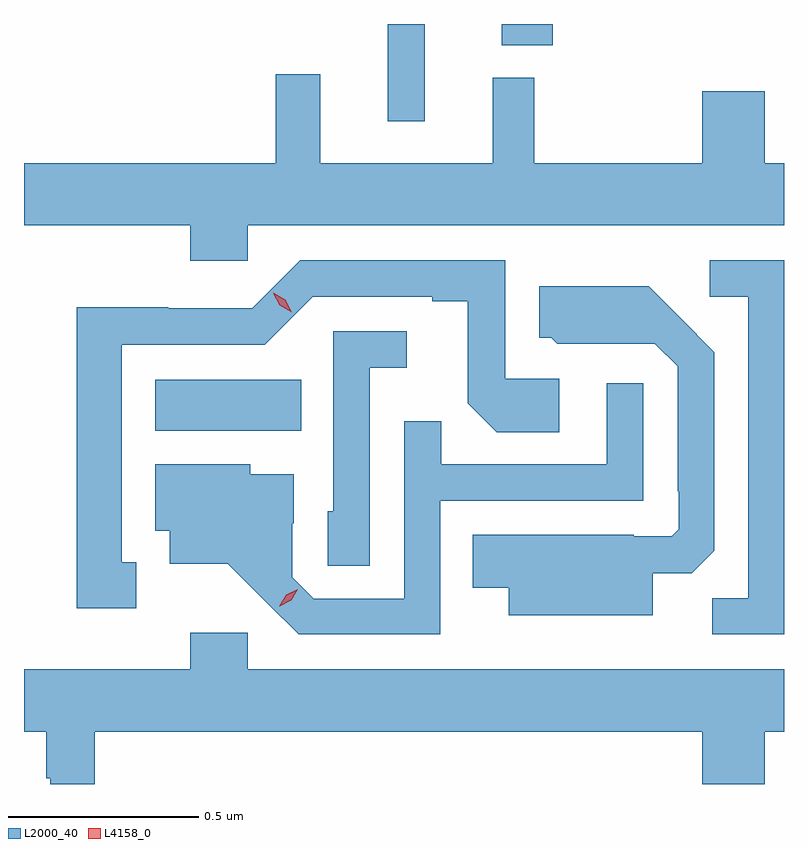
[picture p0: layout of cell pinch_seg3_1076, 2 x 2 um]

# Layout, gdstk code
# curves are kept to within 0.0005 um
import gdstk
lib = gdstk.Library(unit=1e-6, precision=1e-09)
def R(c, l, rs):  # rectangles x0, y0, x1, y1
    for r in rs: c.add(gdstk.rectangle(r[:2], r[2:], *l))
def P(c, l, *ps):  # polygons
    for p in ps: c.add(gdstk.Polygon(p, *l))
L2000_40 = (2000, 40)
L4158_0 = (4158, 0)

pinch_seg3_1076 = lib.new_cell('pinch_seg3_1076')
R(pinch_seg3_1076, L2000_40, [(343.388,715.028,343.772,715.162), (344,715.842,344.097,716.098), (344.3,716.042,344.435,716.098)])
P(pinch_seg3_1076, L2000_40, [(343.632,715.568),(345.043,715.568),(345.043,715.732),(344.992,715.732),(344.992,715.921),(344.828,715.921),(344.828,715.732),(344.386,715.732),(344.386,715.957),(344.276,715.957),(344.276,715.732),(343.823,715.732),(343.823,715.966),(343.705,715.966),(343.705,715.732),(343.043,715.732),(343.043,715.568),(343.481,715.568),(343.481,715.475),(343.632,715.475)],
  [(343.339,714.681),(343.3,714.681),(343.3,715.254),(343.677,715.254),(343.803,715.38),(344.117,715.38),(344.117,715.368),(344.211,715.368),(344.211,715.1),(344.287,715.024),(344.452,715.024),(344.452,715.164),(344.31,715.164),(344.31,715.476),(343.77,715.476),(343.644,715.35),(343.422,715.35),(343.422,715.352),(343.182,715.352),(343.182,714.561),(343.339,714.561)],
  [(345.043,715.476),(344.847,715.476),(344.847,715.38),(344.949,715.38),(344.949,714.587),(344.854,714.587),(344.854,714.492),(345.043,714.492)],
  [(344.698,714.653),(344.8,714.653),(344.859,714.712),(344.859,715.234),(344.687,715.408),(344.399,715.408),(344.399,715.272),(344.43,715.272),(344.446,715.256),(344.58,715.256),(344.58,715.257),(344.703,715.257),(344.763,715.197),(344.763,714.868),(344.766,714.868),(344.766,714.768),(344.748,714.75),(344.648,714.75),(344.648,714.754),(344.224,714.754),(344.224,714.614),(344.318,714.614),(344.318,714.542),(344.698,714.542)],
  [(343.953,715.193),(344.05,715.193),(344.05,715.29),(343.857,715.29),(343.857,714.816),(343.842,714.816),(343.842,714.673),(343.953,714.673)],
  [(344.139,714.843),(344.673,714.843),(344.673,715.153),(344.577,715.153),(344.577,714.939),(344.141,714.939),(344.141,715.052),(344.043,715.052),(344.043,714.585),(343.806,714.585),(343.749,714.642),(343.749,714.784),(343.753,714.784),(343.753,714.913),(343.638,714.913),(343.638,714.94),(343.388,714.94),(343.388,714.764),(343.427,714.764),(343.427,714.677),(343.579,714.677),(343.766,714.492),(344.139,714.492)],
  [(343.229,714.236),(344.828,714.236),(344.828,714.098),(344.992,714.098),(344.992,714.236),(345.043,714.236),(345.043,714.4),(343.632,714.4),(343.632,714.496),(343.481,714.496),(343.481,714.4),(343.043,714.4),(343.043,714.236),(343.101,714.236),(343.101,714.113),(343.112,714.113),(343.112,714.098),(343.229,714.098)])
P(pinch_seg3_1076, L4158_0, [(343.715,714.566),(343.715,714.566),(343.733,714.596),(343.764,714.611),(343.764,714.611),(343.764,714.611),(343.746,714.581),(343.716,714.566)],
  [(343.748,715.339),(343.716,715.358),(343.699,715.39),(343.699,715.391),(343.699,715.391),(343.731,715.372),(343.748,715.339),(343.748,715.339)])

lib.write_gds('pinch_seg3_1076.gds')
